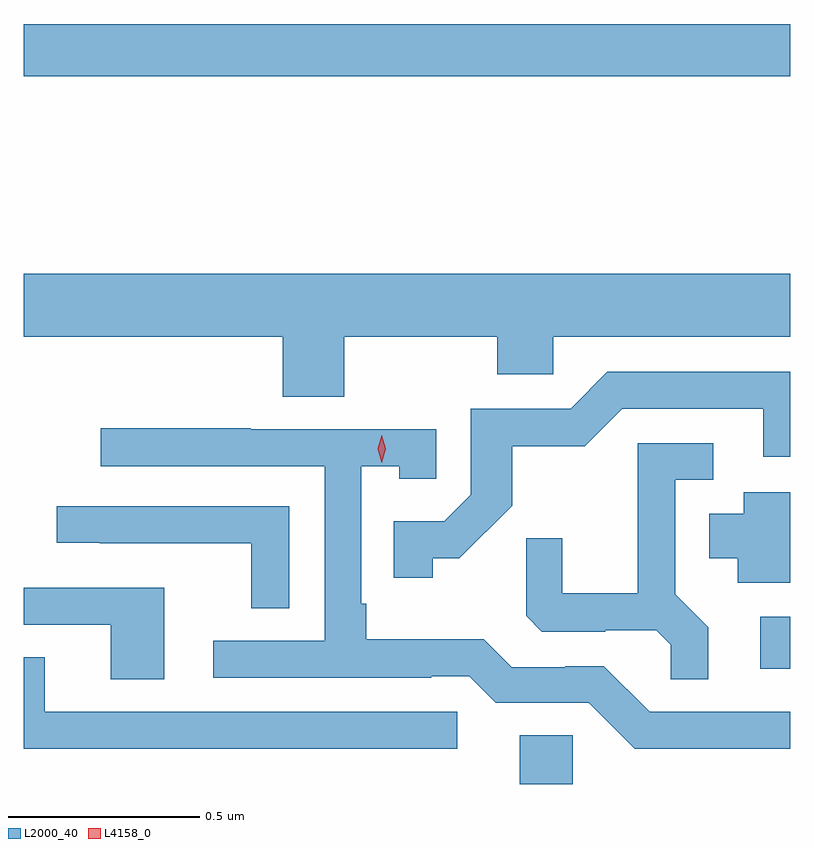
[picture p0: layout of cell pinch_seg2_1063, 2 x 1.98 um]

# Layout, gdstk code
import gdstk
lib = gdstk.Library(unit=1e-6, precision=1e-09)
def R(c, l, rs):  # rectangles x0, y0, x1, y1
    for r in rs: c.add(gdstk.rectangle(r[:2], r[2:], *l))
def P(c, l, *ps):  # polygons
    for p in ps: c.add(gdstk.Polygon(p, *l))
L2000_40 = (2000, 40)
L4158_0 = (4158, 0)

pinch_seg2_1063 = lib.new_cell('pinch_seg2_1063')
R(pinch_seg2_1063, L2000_40, [(318.377,594.52,318.516,594.647), (319.005,594.821,319.083,594.957), (317.083,596.368,319.083,596.504)])
P(pinch_seg2_1063, L2000_40, [(317.919,595.688),(318.319,595.688),(318.319,595.59),(318.465,595.59),(318.465,595.688),(319.083,595.688),(319.083,595.852),(317.083,595.852),(317.083,595.688),(317.759,595.688),(317.759,595.531),(317.919,595.531)],
  [(318.15,595.109),(318.22,595.109),(318.358,595.246),(318.358,595.402),(318.547,595.402),(318.645,595.5),(319.013,595.5),(319.013,595.374),(319.083,595.374),(319.083,595.596),(318.606,595.596),(318.51,595.5),(318.249,595.5),(318.249,595.275),(318.18,595.206),(318.049,595.206),(318.049,595.059),(318.15,595.059)],
  [(319.083,594.708),(318.717,594.708),(318.597,594.828),(318.496,594.828),(318.496,594.825),(318.357,594.825),(318.284,594.898),(317.977,594.898),(317.977,594.991),(317.964,594.991),(317.964,595.349),(318.063,595.349),(318.063,595.317),(318.159,595.317),(318.159,595.446),(317.675,595.446),(317.675,595.449),(317.283,595.449),(317.283,595.35),(317.868,595.35),(317.868,594.894),(317.577,594.894),(317.577,594.798),(318.146,594.798),(318.146,594.801),(318.246,594.801),(318.315,594.732),(318.558,594.732),(318.678,594.612),(319.083,594.612)],
  [(318.869,594.929),(318.783,595.015),(318.783,595.314),(318.883,595.314),(318.883,595.41),(318.686,595.41),(318.686,595.018),(318.488,595.018),(318.488,595.161),(318.394,595.161),(318.394,594.959),(318.435,594.918),(318.6,594.918),(318.6,594.921),(318.734,594.921),(318.771,594.884),(318.771,594.793),(318.869,594.793)],
  [(319.083,595.282),(318.962,595.282),(318.962,595.225),(318.872,595.225),(318.872,595.109),(318.947,595.109),(318.947,595.046),(319.083,595.046)],
  [(317.775,595.245),(317.169,595.245),(317.169,595.15),(317.281,595.15),(317.281,595.149),(317.677,595.149),(317.677,594.979),(317.775,594.979)],
  [(317.449,595.032),(317.083,595.032),(317.083,594.936),(317.309,594.936),(317.309,594.793),(317.449,594.793)],
  [(318.214,594.708),(317.137,594.708),(317.137,594.851),(317.083,594.851),(317.083,594.612),(318.214,594.612)])
P(pinch_seg2_1063, L4158_0, [(318.017,595.359),(318.017,595.359),(318.007,595.395),(318.017,595.431),(318.017,595.431),(318.017,595.431),(318.027,595.395),(318.017,595.359)])

lib.write_gds('pinch_seg2_1063.gds')
